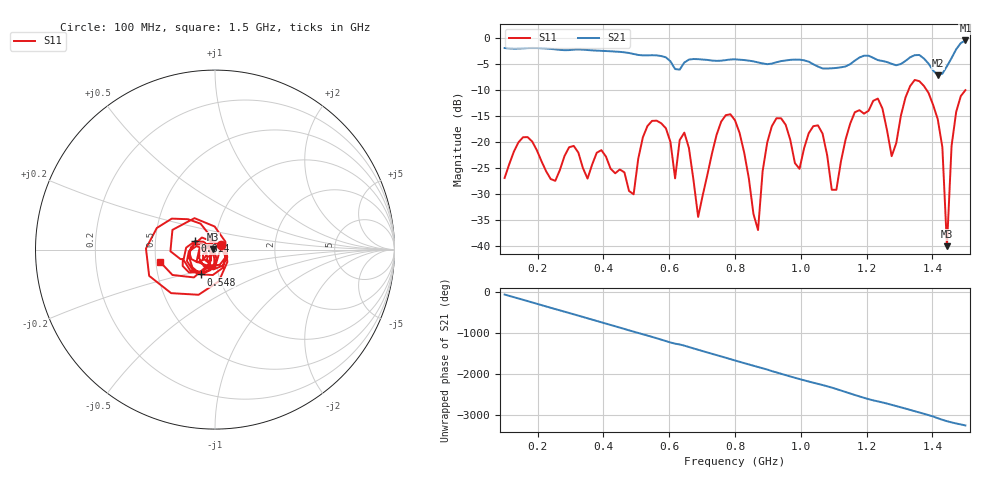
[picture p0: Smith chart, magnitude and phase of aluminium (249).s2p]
! NanoVNA-App
! Date: 2025-09-25 14:57:13
! Start: 100MHz Stop: 1,5GHz Points: 101
! S-Parameter data: F S11 S21 S12 S22
# Hz S RI R 50
!  Frequency  S11_Real  S11_Imag  S21_Real  S21_Imag  S12_Real  S12_Imag  S22_Real  S22_Imag
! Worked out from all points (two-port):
!   101 points, 100 MHz to 1.5 GHz, reference 50 ohm
!   highest |S21| = -0.46 dB at 1.5 GHz (marker M1); lowest = -7.2 dB at 1.416 GHz (marker M2)
!   |S21| within 3 dB of the highest: start of sweep to 575.4 MHz; 1.461 GHz to end of sweep (the widest 2 of 4)
!   lowest |S11| = -40.1 dB at 1.444 GHz (marker M3), VSWR 1.02, Z = 49.1 + j0.313 ohm
!   |S11| at or under -10 dB: start of sweep to 1.327 GHz; 1.382 GHz to end of sweep
!   S12 and S22 are empty: the file has one direction only
!   S11 on the Smith chart (normalised r, x): 100 MHz: 1.07, +0.06; 548 MHz: 0.82, -0.23; 814 MHz: 0.79, +0.07; 1.5 GHz: 0.53, -0.08
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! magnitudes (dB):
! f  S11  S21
! 100 MHz  -27.0  -1.9
! 338 MHz  -25.1  -2.2
! 492 MHz  -30.1  -3.1
! 548 MHz  -16.0  -3.3
! 576 MHz  -16.4  -3.5
! 618 MHz  -27.0  -6.0
! 646 MHz  -18.2  -4.7
! 688 MHz  -34.5  -4.1
! 800 MHz  -15.9  -4.1
! 814 MHz  -18.3  -4.2
! 870 MHz  -37.0  -4.7
! 912 MHz  -17.0  -4.9
! 996 MHz  -25.2  -4.1
! 1.038 GHz  -17.0  -5.1
! 1.094 GHz  -29.2  -5.8
! 1.22 GHz  -12.1  -3.8
! 1.276 GHz  -22.8  -5.0
! 1.346 GHz  -8.1  -3.3
! 1.416 GHz  -15.6  -7.2
! 1.444 GHz  -40.1  -5.4
! 1.458 GHz  -20.8  -3.8
! 1.5 GHz  -10.0  -0.5
